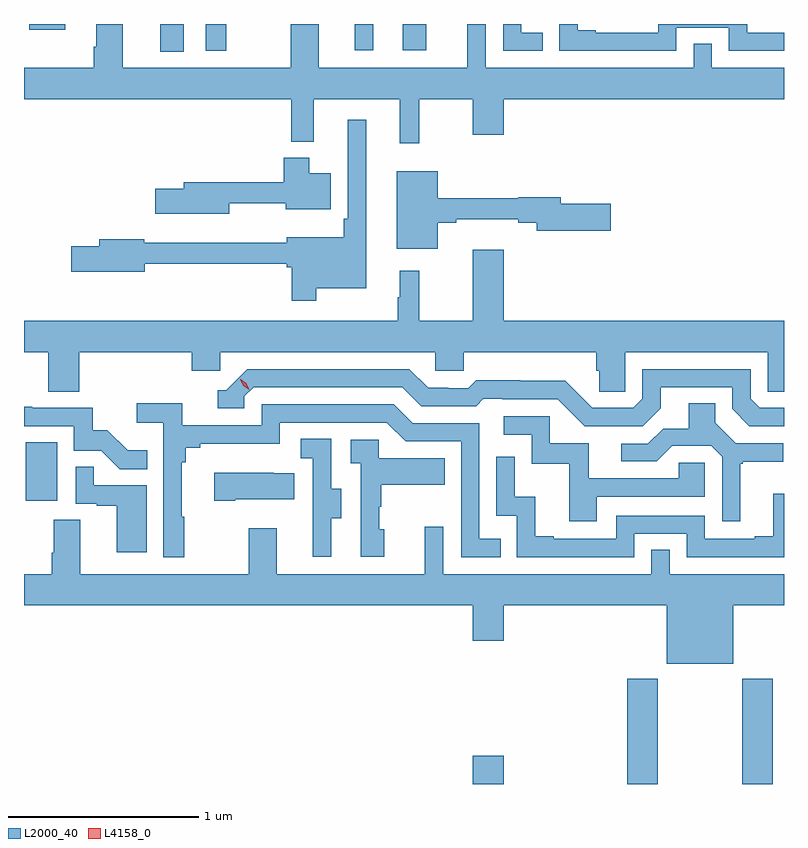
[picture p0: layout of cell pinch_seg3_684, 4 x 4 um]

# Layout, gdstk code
import gdstk
lib = gdstk.Library(unit=1e-6, precision=1e-09)
def R(c, l, rs):  # rectangles x0, y0, x1, y1
    for r in rs: c.add(gdstk.rectangle(r[:2], r[2:], *l))
def P(c, l, *ps):  # polygons
    for p in ps: c.add(gdstk.Polygon(p, *l))
L2000_40 = (2000, 40)
L4158_0 = (4158, 0)

pinch_seg3_684 = lib.new_cell('pinch_seg3_684')
R(pinch_seg3_684, L2000_40, [(1100.072,677.331,1100.236,677.479), (1100.885,677.331,1101.045,677.884), (1101.49,677.331,1101.65,677.884), (1097.72,678.822,1097.884,679.129), (1098.428,681.185,1098.55,681.331), (1098.666,681.189,1098.775,681.331), (1099.451,681.192,1099.549,681.331), (1099.704,681.192,1099.828,681.331), (1097.737,681.3,1097.926,681.331)])
P(pinch_seg3_684, L2000_40, [(1101.144,681.312),(1101.42,681.312),(1101.42,681.189),(1101.71,681.189),(1101.71,681.285),(1101.516,681.285),(1101.516,681.331),(1101.048,681.331),(1101.048,681.285),(1100.719,681.285),(1100.719,681.298),(1100.624,681.298),(1100.624,681.331),(1100.526,681.331),(1100.526,681.189),(1101.144,681.189)],
  [(1099.79,680.936),(1100.072,680.936),(1100.072,680.748),(1100.236,680.748),(1100.236,680.936),(1101.71,680.936),(1101.71,681.1),(1101.33,681.1),(1101.33,681.227),(1101.234,681.227),(1101.234,681.1),(1100.139,681.1),(1100.139,681.331),(1100.042,681.331),(1100.042,681.1),(1099.261,681.1),(1099.261,681.331),(1099.114,681.331),(1099.114,681.1),(1098.229,681.1),(1098.229,681.331),(1098.089,681.331),(1098.089,681.212),(1098.077,681.212),(1098.077,681.1),(1097.71,681.1),(1097.71,680.936),(1099.117,680.936),(1099.117,680.711),(1099.235,680.711),(1099.235,680.936),(1099.688,680.936),(1099.688,680.703),(1099.79,680.703)],
  [(1100.441,681.285),(1100.328,681.285),(1100.328,681.331),(1100.232,681.331),(1100.232,681.189),(1100.441,681.189)],
  [(1099.249,679.94),(1099.51,679.94),(1099.51,680.827),(1099.413,680.827),(1099.413,680.305),(1099.393,680.305),(1099.393,680.209),(1099.094,680.209),(1099.094,680.18),(1098.886,680.18),(1098.886,680.179),(1098.342,680.179),(1098.342,680.198),(1098.107,680.198),(1098.107,680.162),(1097.958,680.162),(1097.958,680.027),(1098.346,680.027),(1098.346,680.07),(1099.094,680.07),(1099.094,680.051),(1099.12,680.051),(1099.12,679.875),(1099.249,679.875)],
  [(1098.79,680.387),(1099.088,680.387),(1099.088,680.357),(1099.324,680.357),(1099.324,680.545),(1099.21,680.545),(1099.21,680.626),(1099.076,680.626),(1099.076,680.497),(1098.551,680.497),(1098.551,680.463),(1098.402,680.463),(1098.402,680.333),(1098.79,680.333)],
  [(1099.888,680.284),(1099.984,680.284),(1099.984,680.303),(1100.312,680.303),(1100.312,680.284),(1100.408,680.284),(1100.408,680.242),(1100.797,680.242),(1100.797,680.384),(1100.536,680.384),(1100.536,680.42),(1100.312,680.42),(1100.312,680.413),(1099.888,680.413),(1099.888,680.557),(1099.673,680.557),(1099.673,680.147),(1099.888,680.147)],
  [(1098.002,679.604),(1098.593,679.604),(1098.593,679.506),(1098.744,679.506),(1098.744,679.604),(1099.875,679.604),(1099.875,679.506),(1100.025,679.506),(1100.025,679.604),(1100.723,679.604),(1100.723,679.506),(1100.737,679.506),(1100.737,679.396),(1100.874,679.396),(1100.874,679.604),(1101.624,679.604),(1101.624,679.396),(1101.71,679.396),(1101.71,679.768),(1100.236,679.768),(1100.236,680.143),(1100.072,680.143),(1100.072,679.768),(1099.79,679.768),(1099.79,680.032),(1099.688,680.032),(1099.688,679.892),(1099.677,679.892),(1099.677,679.768),(1097.71,679.768),(1097.71,679.604),(1097.837,679.604),(1097.837,679.396),(1098.002,679.396)],
  [(1101.061,679.309),(1101.061,679.419),(1101.438,679.419),(1101.438,679.305),(1101.528,679.215),(1101.71,679.215),(1101.71,679.311),(1101.582,679.311),(1101.534,679.359),(1101.534,679.515),(1100.964,679.515),(1100.964,679.359),(1100.916,679.311),(1100.7,679.311),(1100.558,679.453),(1100.322,679.453),(1100.322,679.456),(1100.089,679.456),(1100.047,679.413),(1099.944,679.413),(1099.944,679.416),(1099.837,679.416),(1099.738,679.515),(1098.885,679.515),(1098.774,679.404),(1098.731,679.404),(1098.731,679.308),(1098.87,679.308),(1098.87,679.371),(1098.918,679.419),(1099.701,679.419),(1099.8,679.32),(1100.089,679.32),(1100.128,679.359),(1100.227,679.359),(1100.227,679.356),(1100.52,679.356),(1100.661,679.215),(1100.967,679.215)],
  [(1101.481,679.017),(1101.493,679.017),(1101.493,679.028),(1101.706,679.028),(1101.706,679.125),(1101.456,679.125),(1101.349,679.232),(1101.349,679.334),(1101.209,679.334),(1101.209,679.202),(1101.074,679.202),(1100.994,679.122),(1100.853,679.122),(1100.853,679.029),(1101.04,679.029),(1101.121,679.11),(1101.327,679.11),(1101.384,679.053),(1101.384,678.714),(1101.481,678.714)],
  [(1098.553,678.737),(1098.541,678.737),(1098.541,679.025),(1098.56,679.025),(1098.56,679.102),(1098.637,679.102),(1098.637,679.121),(1099.056,679.121),(1099.056,679.233),(1099.62,679.233),(1099.719,679.134),(1100.01,679.134),(1100.01,678.525),(1100.219,678.525),(1100.219,678.621),(1100.106,678.621),(1100.106,679.23),(1099.756,679.23),(1099.657,679.329),(1098.96,679.329),(1098.96,679.218),(1098.542,679.218),(1098.542,679.334),(1098.303,679.334),(1098.303,679.232),(1098.444,679.232),(1098.444,678.525),(1098.553,678.525)],
  [(1098.359,679.087),(1098.255,679.087),(1098.148,679.194),(1098.072,679.194),(1098.072,679.311),(1097.753,679.311),(1097.753,679.316),(1097.71,679.316),(1097.71,679.215),(1097.973,679.215),(1097.973,679.086),(1098.117,679.086),(1098.215,678.988),(1098.359,678.988)],
  [(1100.725,678.843),(1101.294,678.843),(1101.294,679.023),(1101.157,679.023),(1101.157,678.939),(1100.683,678.939),(1100.683,679.125),(1100.478,679.125),(1100.478,679.266),(1100.235,679.266),(1100.235,679.17),(1100.382,679.17),(1100.382,679.017),(1100.581,679.017),(1100.581,678.714),(1100.725,678.714)],
  [(1099.327,678.73),(1099.381,678.73),(1099.381,678.885),(1099.326,678.885),(1099.326,679.148),(1099.167,679.148),(1099.167,679.045),(1099.23,679.045),(1099.23,678.741),(1099.229,678.741),(1099.229,678.528),(1099.327,678.528)],
  [(1099.606,678.672),(1099.581,678.672),(1099.581,678.791),(1099.591,678.791),(1099.591,678.905),(1099.925,678.905),(1099.925,679.045),(1099.578,679.045),(1099.578,679.143),(1099.431,679.143),(1099.431,679.019),(1099.482,679.019),(1099.482,678.528),(1099.606,678.528)],
  [(1100.922,678.648),(1101.198,678.648),(1101.198,678.525),(1101.71,678.525),(1101.71,678.859),(1101.653,678.859),(1101.653,678.634),(1101.557,678.634),(1101.557,678.621),(1101.294,678.621),(1101.294,678.744),(1100.826,678.744),(1100.826,678.621),(1100.497,678.621),(1100.497,678.634),(1100.402,678.634),(1100.402,678.842),(1100.292,678.842),(1100.292,679.054),(1100.196,679.054),(1100.196,678.744),(1100.304,678.744),(1100.304,678.525),(1100.922,678.525)],
  [(1098.355,678.903),(1098.077,678.903),(1098.077,679.001),(1097.982,679.001),(1097.982,678.807),(1098.093,678.807),(1098.093,678.795),(1098.197,678.795),(1098.197,678.552),(1098.355,678.552)],
  [(1098.823,678.83),(1099.133,678.83),(1099.133,678.967),(1099.025,678.967),(1099.025,678.97),(1098.711,678.97),(1098.711,678.823),(1098.823,678.823)],
  [(1101.092,677.963),(1101.442,677.963),(1101.442,678.272),(1101.71,678.272),(1101.71,678.436),(1101.108,678.436),(1101.108,678.563),(1101.012,678.563),(1101.012,678.436),(1099.917,678.436),(1099.917,678.685),(1099.82,678.685),(1099.82,678.436),(1099.039,678.436),(1099.039,678.676),(1098.892,678.676),(1098.892,678.436),(1098.007,678.436),(1098.007,678.722),(1097.867,678.722),(1097.867,678.548),(1097.855,678.548),(1097.855,678.436),(1097.71,678.436),(1097.71,678.272),(1100.072,678.272),(1100.072,678.084),(1100.236,678.084),(1100.236,678.272),(1101.092,678.272)])
P(pinch_seg3_684, L4158_0, [(1098.896,679.406),(1098.865,679.426),(1098.849,679.459),(1098.849,679.46),(1098.85,679.46),(1098.88,679.439),(1098.896,679.406),(1098.896,679.406)])

lib.write_gds('pinch_seg3_684.gds')
